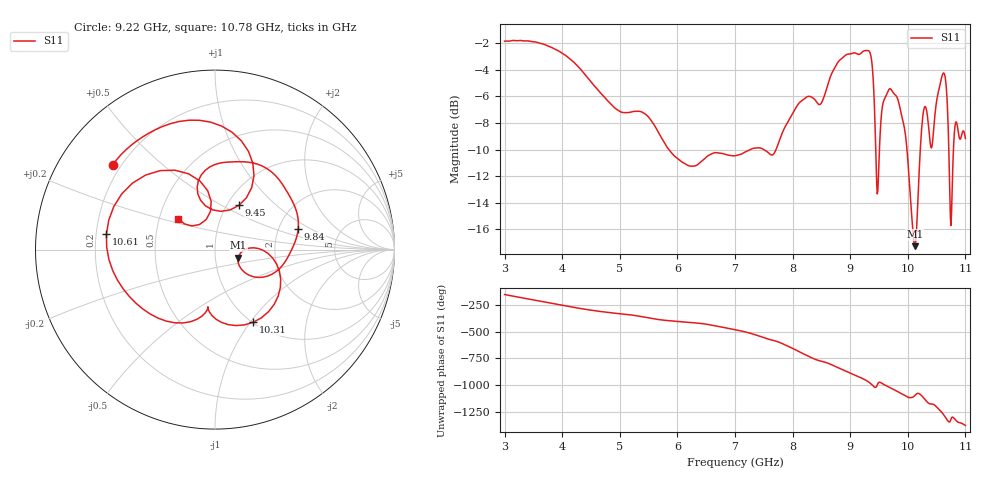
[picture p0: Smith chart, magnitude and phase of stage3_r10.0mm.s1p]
# GHz S DB R 50
! openEMS Stage 3 Simulation: r10.0mm
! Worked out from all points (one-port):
!   801 points, 3 GHz to 11 GHz, reference 50 ohm
!   lowest |S11| = -17.3 dB at 10.12 GHz (marker M1), VSWR 1.32, Z = 64.6 - j5.95 ohm
!   |S11| at or under -10 dB: 5.853 GHz to 7.261 GHz (1.408 GHz wide, 21.5 % of centre); 7.503 GHz to 7.711 GHz (207.5 MHz wide, 2.73 % of centre); 9.986 GHz to 10.22 GHz (231.2 MHz wide, 2.29 % of centre)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
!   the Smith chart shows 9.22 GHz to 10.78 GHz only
!   S11 on the Smith chart (normalised r, x): 9.22 GHz: 0.17, +0.35; 9.45 GHz: 1.13, +0.61; 9.84 GHz: 2.56, +0.77; 10.31 GHz: 1.01, -1.03; 10.61 GHz: 0.24, +0.07; 10.78 GHz: 0.63, +0.23
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3  -1.84 -152.2
3.46  -1.86 161.4
4  -2.75 107.3
4.46  -4.68 64.6
5  -7.12 28.6
6  -10.65 -43.7
7  -10.46 -120.8
7.5  -9.99 164.8
8  -7.26 63.7
8.27  -5.99 -8.6
8.69  -4.17 -92.7
9  -2.80 -167.6
9.22  -2.62 140.4
9.35  -2.79 96.8
9.45  -11.06 61.6
9.53  -8.07 103.5
9.65  -5.66 69.1
9.84  -6.41 14.0
10  -10.76 -32.3
10.12  -17.25 -19.2
10.2  -11.41 -0.9
10.31  -6.79 -62.2
10.51  -6.09 -129.6
10.61  -4.28 171.8
10.67  -5.42 124.8
10.72  -11.40 94.5
10.78  -11.51 139.9
11  -9.16 62.3
